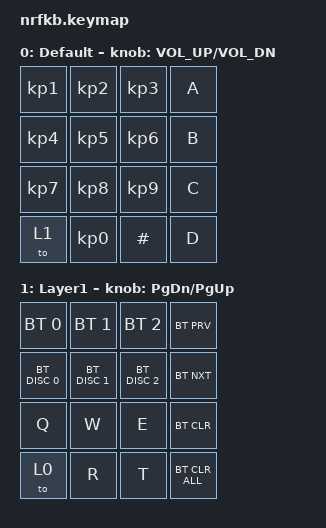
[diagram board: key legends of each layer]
#include <behaviors.dtsi>
#include <dt-bindings/zmk/keys.h>
#include <dt-bindings/zmk/bt.h>

/ {
    keymap {
        compatible = "zmk,keymap";
        default_layer { // Layer 0
            display-name = "Default";
            bindings = <
                &kp KP_N1 &kp KP_N2 &kp KP_N3 &kp A 
                &kp KP_N4 &kp KP_N5 &kp KP_N6 &kp B
                &kp KP_N7 &kp KP_N8 &kp KP_N9 &kp C
                &to 1 &kp KP_N0 &kp HASH &kp D 
            >;
            sensor-bindings = <&inc_dec_kp C_VOL_UP C_VOL_DN>;
        };
        L1 {
            display-name = "Layer1";
            bindings = <
                &bt BT_SEL 0 &bt BT_SEL 1 &bt BT_SEL 2 &bt BT_PRV
                &bt BT_DISC 0 &bt BT_DISC 1 &bt BT_DISC 2 &bt BT_NXT
                &kp Q &kp W &kp E &bt BT_CLR
                &to 0 &kp R &kp T &bt BT_CLR_ALL
            >;
            sensor-bindings = <&inc_dec_kp PG_DN PG_UP>;
        };
    };
 };
